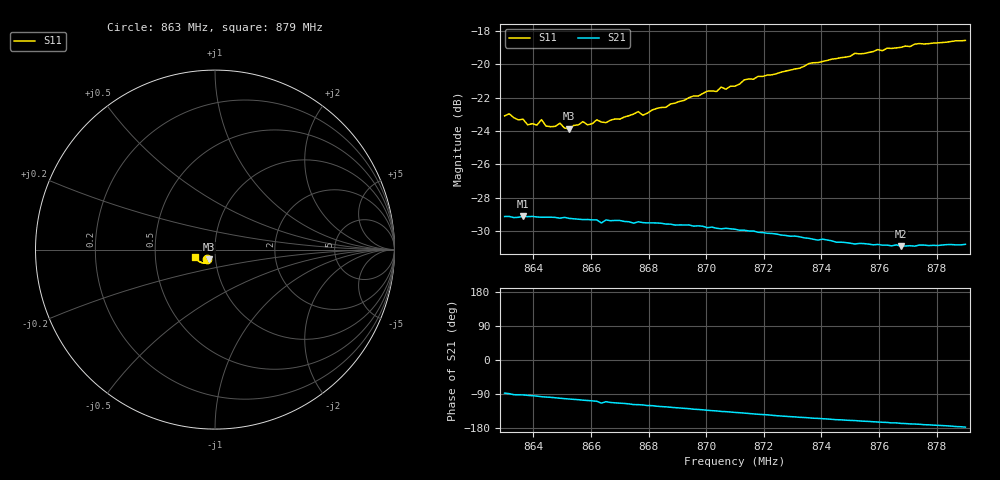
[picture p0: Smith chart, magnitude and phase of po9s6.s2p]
# HZ S RI R 50
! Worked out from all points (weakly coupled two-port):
!   101 points, 863 MHz to 879 MHz, reference 50 ohm
!   highest |S21| = -29.10 dB at 863.64 MHz (marker M1); lowest = -30.9 dB at 876.76 MHz (marker M2)
!   lowest |S11| = -23.9 dB at 865.24 MHz (marker M3), VSWR 1.14, Z = 46.4 - j5.01 ohm
!   |S11| at or under -10 dB: start of sweep to end of sweep
!   S12 and S22 are empty: the file has one direction only
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8.63e8  -0.0462 -0.0527  0.00157 -0.035  0 0  0 0
8.6316e8  -0.0477 -0.0527  0.000713 -0.035  0 0  0 0
8.6364e8  -0.0435 -0.0528  -0.00128 -0.0351  0 0  0 0
8.638e8  -0.0411 -0.0515  -0.00207 -0.0349  0 0  0 0
8.6412e8  -0.0393 -0.0527  -0.00318 -0.0348  0 0  0 0
8.6428e8  -0.041 -0.0546  -0.00417 -0.0346  0 0  0 0
8.6444e8  -0.0389 -0.0525  -0.00469 -0.0345  0 0  0 0
8.6492e8  -0.0384 -0.0544  -0.00653 -0.034  0 0  0 0
8.6524e8  -0.0348 -0.0538  -0.00776 -0.0337  0 0  0 0
8.6572e8  -0.036 -0.0569  -0.00944 -0.033  0 0  0 0
8.6588e8  -0.0336 -0.0567  -0.00997 -0.0328  0 0  0 0
8.662e8  -0.0371 -0.0572  -0.0111 -0.0324  0 0  0 0
8.6636e8  -0.0347 -0.0575  -0.0135 -0.0307  0 0  0 0
8.6652e8  -0.0344 -0.0573  -0.0117 -0.0321  0 0  0 0
8.6844e8  -0.0367 -0.0645  -0.0182 -0.0281  0 0  0 0
8.7052e8  -0.0442 -0.0731  -0.0231 -0.0224  0 0  0 0
8.71e8  -0.0462 -0.0725  -0.024 -0.0213  0 0  0 0
8.7132e8  -0.0494 -0.0749  -0.0244 -0.0205  0 0  0 0
8.7372e8  -0.0671 -0.0755  -0.0268 -0.0133  0 0  0 0
8.7644e8  -0.0922 -0.0626  -0.0278 -0.00694  0 0  0 0
8.7676e8  -0.0949 -0.0601  -0.0279 -0.00626  0 0  0 0
8.79e8  -0.1109 -0.0397  -0.0289 -0.00146  0 0  0 0
